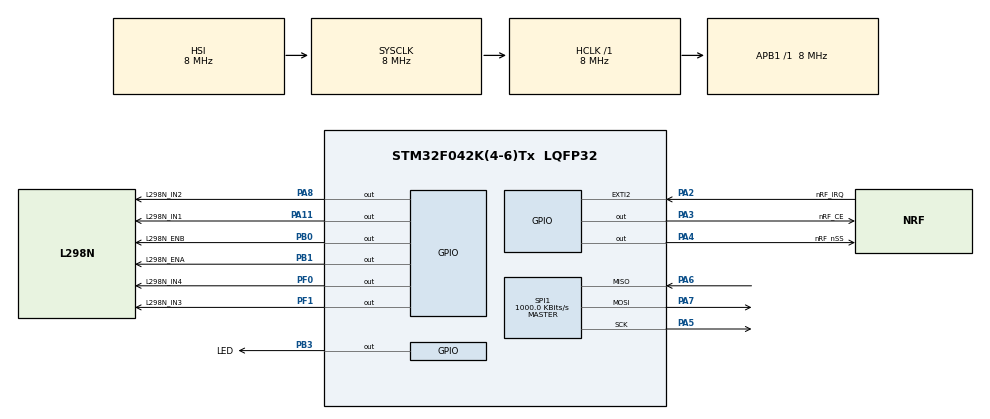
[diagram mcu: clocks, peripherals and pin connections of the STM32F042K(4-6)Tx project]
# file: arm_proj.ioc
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Mcu.Family=STM32F0
Mcu.Name=STM32F042K(4-6)Tx
Mcu.Package=LQFP32
NVIC.EXTI2_3_IRQn=true\:1\:0\:true\:false\:true\:true
PA11.GPIO_Label=L298N_IN1
PA11.Signal=GPIO_Output
PA13.Mode=Serial_Wire
PA13.Signal=SYS_SWDIO
PA14.Mode=Serial_Wire
PA14.Signal=SYS_SWCLK
PA2.GPIO_Label=nRF_IRQ
PA2.GPIO_ModeDefaultEXTI=GPIO_MODE_IT_FALLING
PA2.Signal=GPXTI2
PA3.GPIO_Label=nRF_CE
PA3.GPIO_Speed=GPIO_SPEED_FREQ_HIGH
PA3.PinState=GPIO_PIN_SET
PA3.Signal=GPIO_Output
PA4.GPIO_Label=nRF_nSS
PA4.GPIO_Speed=GPIO_SPEED_FREQ_HIGH
PA4.PinState=GPIO_PIN_SET
PA4.Signal=GPIO_Output
PA5.Mode=Full_Duplex_Master
PA5.Signal=SPI1_SCK
PA6.Mode=Full_Duplex_Master
PA6.Signal=SPI1_MISO
PA7.Mode=Full_Duplex_Master
PA7.Signal=SPI1_MOSI
PA8.GPIO_Label=L298N_IN2
PA8.Signal=GPIO_Output
PB0.GPIO_Label=L298N_ENB
PB0.Signal=GPIO_Output
PB1.GPIO_Label=L298N_ENA
PB1.Signal=GPIO_Output
PB3.GPIO_Label=LED
PB3.Signal=GPIO_Output
PF0-OSC_IN.GPIO_Label=L298N_IN4
PF0-OSC_IN.Signal=GPIO_Output
PF1-OSC_OUT.GPIO_Label=L298N_IN3
PF1-OSC_OUT.Signal=GPIO_Output
ProjectManager.HeapSize=0x200
ProjectManager.StackSize=0x400
ProjectManager.TargetToolchain=EWARM
RCC.AHBFreq_Value=8000000
RCC.APB1Freq_Value=8000000
RCC.APB1TimFreq_Value=8000000
RCC.HCLKFreq_Value=8000000
RCC.SYSCLKFreq_VALUE=8000000
SPI1.BaudRatePrescaler=SPI_BAUDRATEPRESCALER_8
SPI1.CalculateBaudRate=1000.0 KBits/s
SPI1.DataSize=SPI_DATASIZE_8BIT
SPI1.Direction=SPI_DIRECTION_2LINES
SPI1.Mode=SPI_MODE_MASTER
SPI1.VirtualType=VM_MASTER
board=NUCLEO-F042K6

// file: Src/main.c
/**
  ******************************************************************************
  * @file           : main.c
  * @brief          : Main program body
  ******************************************************************************
  ** This notice applies to any and all portions of this file
  * that are not between comment pairs USER CODE BEGIN and
  * USER CODE END. Other portions of this file, whether
  * inserted by the user or by software development tools
  * are owned by their respective copyright owners.
  *
  * COPYRIGHT(c) 2018 STMicroelectronics
  *
  * Redistribution and use in source and binary forms, with or without modification,
  * are permitted provided that the following conditions are met:
  *   1. Redistributions of source code must retain the above copyright notice,
  *      this list of conditions and the following disclaimer.
  *   2. Redistributions in binary form must reproduce the above copyright notice,
  *      this list of conditions and the following disclaimer in the documentation
  *      and/or other materials provided with the distribution.
  *   3. Neither the name of STMicroelectronics nor the names of its contributors
  *      may be used to endorse or promote products derived from this software
  *      without specific prior written permission.
  *
  * THIS SOFTWARE IS PROVIDED BY THE COPYRIGHT HOLDERS AND CONTRIBUTORS "AS IS"
  * AND ANY EXPRESS OR IMPLIED WARRANTIES, INCLUDING, BUT NOT LIMITED TO, THE
  * IMPLIED WARRANTIES OF MERCHANTABILITY AND FITNESS FOR A PARTICULAR PURPOSE ARE
  * DISCLAIMED. IN NO EVENT SHALL THE COPYRIGHT HOLDER OR CONTRIBUTORS BE LIABLE
  * FOR ANY DIRECT, INDIRECT, INCIDENTAL, SPECIAL, EXEMPLARY, OR CONSEQUENTIAL
  * DAMAGES (INCLUDING, BUT NOT LIMITED TO, PROCUREMENT OF SUBSTITUTE GOODS OR
  * SERVICES; LOSS OF USE, DATA, OR PROFITS; OR BUSINESS INTERRUPTION) HOWEVER
  * CAUSED AND ON ANY THEORY OF LIABILITY, WHETHER IN CONTRACT, STRICT LIABILITY,
  * OR TORT (INCLUDING NEGLIGENCE OR OTHERWISE) ARISING IN ANY WAY OUT OF THE USE
  * OF THIS SOFTWARE, EVEN IF ADVISED OF THE POSSIBILITY OF SUCH DAMAGE.
  *
  ******************************************************************************
  */
#include "main.h"
#include "stm32f0xx_hal.h"

/* USER CODE BEGIN Includes */
#include "nrf24l01P.h"
/* USER CODE END Includes */

SPI_HandleTypeDef hspi1;

/* USER CODE BEGIN PV */
/* Private variables ---------------------------------------------------------*/
nRF24L01P myNRF;
const uint8_t RXAddr[5] = {0xE7, 0xE7, 0xE7, 0xE7, 0xE7};
const uint8_t TXAddr[5] = {0xE7, 0xE7, 0xE7, 0xE7, 0xE7};
uint8_t RXData[32];

uint8_t RXBuffer[32], TXBuffer[32], status = 'D';
/* USER CODE END PV */

void SystemClock_Config(void);
static void MX_GPIO_Init(void);
static void MX_SPI1_Init(void);

/* USER CODE BEGIN PFP */
/* Private function prototypes -----------------------------------------------*/

/* USER CODE END PFP */

int main(void)
{

  /* MCU Configuration----------------------------------------------------------*/

  /* Reset of all peripherals, Initializes the Flash interface and the Systick. */
  HAL_Init();

  /* Configure the system clock */
  SystemClock_Config();

  /* Initialize all configured peripherals */
  MX_GPIO_Init();
  MX_SPI1_Init();
  /* USER CODE BEGIN 2 */
  myNRF.hspi = &hspi1;														// You should make this definition at CubeMX
  myNRF.CRC_Width = nRF_CRC_WIDTH_BYTE;
  myNRF.ADDR_Width = nRF_ADDR_WIDTH_5;
  myNRF.Data_Rate = nRF_DATA_RATE_2MBPS;
  myNRF.TX_Power = nRF_TX_PWR_0dBm;
  myNRF.State = nRF_STATE_RX;

  myNRF.RF_Channel = 2;
  myNRF.PayloadWidth = nRF_RXPW_32BYTES;
  myNRF.RetransmitCount = nRF_RETX_DISABLED;
  myNRF.RetransmitDelay = nRF_RETX_DELAY_1000uS;

  myNRF.RX_Address = (uint8_t *)RXAddr;
  myNRF.TX_Address = (uint8_t *)TXAddr;

  myNRF.RX_Buffer = RXBuffer;
  myNRF.TX_Buffer = TXBuffer;

  myNRF.nRF_nSS_GPIO_PORT = nRF_nSS_GPIO_Port;
  myNRF.nRF_nSS_GPIO_PIN = nRF_nSS_Pin;

  myNRF.nRF_CE_GPIO_PORT = nRF_CE_GPIO_Port;
  myNRF.nRF_CE_GPIO_PIN = nRF_CE_Pin;

  if(HAL_nRF24L01P_Init(&myNRF) != HAL_OK)
  {
    puts("ERROR : HAL_nRF24L01P_Init");
    while(1){}
  }
  HAL_GPIO_WritePin(L298N_ENA_GPIO_Port, L298N_ENA_Pin, GPIO_PIN_SET);
  HAL_GPIO_WritePin(L298N_ENB_GPIO_Port, L298N_ENB_Pin, GPIO_PIN_SET);
  /* USER CODE END 2 */

  /* Infinite loop */
  while (1)
  {

  /* USER CODE BEGIN 3 */

    if(HAL_nRF24L01P_ReceivePacket(&myNRF, (uint8_t *)RXData) != HAL_OK)
    {
      puts("ERROR : HAL_nRF24L01P_ReceivePacket");
      while(1){}
    }
    uint8_t c = RXData[0];
    if(status != c && (c == 'D' || c == 'F' || c == 'B' || c == 'L' || c == 'R'))
    {
      if(status == 'D')
      {
        if(c == 'F')
        {
          HAL_GPIO_TogglePin(L298N_IN2_GPIO_Port, L298N_IN2_Pin);
          HAL_GPIO_TogglePin(L298N_IN3_GPIO_Port, L298N_IN3_Pin);
        }else if(c == 'B')
        {
          HAL_GPIO_TogglePin(L298N_IN1_GPIO_Port, L298N_IN1_Pin);
          HAL_GPIO_TogglePin(L298N_IN4_GPIO_Port, L298N_IN4_Pin);
        }else if(c == 'L')
        {
          HAL_GPIO_TogglePin(L298N_IN3_GPIO_Port, L298N_IN3_Pin);
        }else if(c == 'R')
        {
          HAL_GPIO_TogglePin(L298N_IN2_GPIO_Port, L298N_IN2_Pin);
        }
      }else if(status == 'F')
      {
        if(c == 'D')
        {
          HAL_GPIO_TogglePin(L298N_IN2_GPIO_Port, L298N_IN2_Pin);
          HAL_GPIO_TogglePin(L298N_IN3_GPIO_Port, L298N_IN3_Pin);
        }else if(c == 'B')
        {
          HAL_GPIO_TogglePin(L298N_IN1_GPIO_Port, L298N_IN1_Pin);
          HAL_GPIO_TogglePin(L298N_IN2_GPIO_Port, L298N_IN2_Pin);
          HAL_GPIO_TogglePin(L298N_IN3_GPIO_Port, L298N_IN3_Pin);
          HAL_GPIO_TogglePin(L298N_IN4_GPIO_Port, L298N_IN4_Pin);
        }else if(c == 'L')
        {
          HAL_GPIO_TogglePin(L298N_IN2_GPIO_Port, L298N_IN2_Pin);
        }else if(c == 'R')
        {
          HAL_GPIO_TogglePin(L298N_IN3_GPIO_Port, L298N_IN3_Pin);
        }
      }else if(status == 'B')
      {
        if(c == 'D')
        {
          HAL_GPIO_TogglePin(L298N_IN1_GPIO_Port, L298N_IN1_Pin);
          HAL_GPIO_TogglePin(L298N_IN4_GPIO_Port, L298N_IN4_Pin);
        }else if(c == 'F')
        {
          HAL_GPIO_TogglePin(L298N_IN1_GPIO_Port, L298N_IN1_Pin);
          HAL_GPIO_TogglePin(L298N_IN2_GPIO_Port, L298N_IN2_Pin);
          HAL_GPIO_TogglePin(L298N_IN3_GPIO_Port, L298N_IN3_Pin);
          HAL_GPIO_TogglePin(L298N_IN4_GPIO_Port, L298N_IN4_Pin);
        }else if(c == 'L')
        {
          HAL_GPIO_TogglePin(L298N_IN1_GPIO_Port, L298N_IN1_Pin);
          HAL_GPIO_TogglePin(L298N_IN3_GPIO_Port, L298N_IN3_Pin);
          HAL_GPIO_TogglePin(L298N_IN4_GPIO_Port, L298N_IN4_Pin);
        }else if(c == 'R')
        {
          HAL_GPIO_TogglePin(L298N_IN1_GPIO_Port, L298N_IN1_Pin);
          HAL_GPIO_TogglePin(L298N_IN2_GPIO_Port, L298N_IN2_Pin);
          HAL_GPIO_TogglePin(L298N_IN4_GPIO_Port, L298N_IN4_Pin);
        }
      }else if(status == 'L')
      {
        if(c == 'D')
        {
          HAL_GPIO_TogglePin(L298N_IN3_GPIO_Port, L298N_IN3_Pin);
        }else if(c == 'F')
        {
          HAL_GPIO_TogglePin(L298N_IN2_GPIO_Port, L298N_IN2_Pin);
        }else if(c == 'B')
        {
          HAL_GPIO_TogglePin(L298N_IN1_GPIO_Port, L298N_IN1_Pin);
          HAL_GPIO_TogglePin(L298N_IN3_GPIO_Port, L298N_IN3_Pin);
          HAL_GPIO_TogglePin(L298N_IN4_GPIO_Port, L298N_IN4_Pin);
        }else if(c == 'R')
        {
          HAL_GPIO_TogglePin(L298N_IN2_GPIO_Port, L298N_IN2_Pin);
          HAL_GPIO_TogglePin(L298N_IN3_GPIO_Port, L298N_IN3_Pin);
        }
      }else if(status == 'R')
      {
        if(c == 'D')
        {
          HAL_GPIO_TogglePin(L298N_IN2_GPIO_Port, L298N_IN2_Pin);
        }else if(c == 'F')
        {
          HAL_GPIO_TogglePin(L298N_IN3_GPIO_Port, L298N_IN3_Pin);
        }else if(c == 'B')
        {
          HAL_GPIO_TogglePin(L298N_IN1_GPIO_Port, L298N_IN1_Pin);
          HAL_GPIO_TogglePin(L298N_IN2_GPIO_Port, L298N_IN2_Pin);
          HAL_GPIO_TogglePin(L298N_IN4_GPIO_Port, L298N_IN4_Pin);
        }else if(c == 'L')
        {
          HAL_GPIO_TogglePin(L298N_IN2_GPIO_Port, L298N_IN2_Pin);
          HAL_GPIO_TogglePin(L298N_IN3_GPIO_Port, L298N_IN3_Pin);
        }
      }
      status = c;
    }
    HAL_Delay(250);
  }
  /* USER CODE END 3 */

}

void SystemClock_Config(void)
{

  RCC_OscInitTypeDef RCC_OscInitStruct;
  RCC_ClkInitTypeDef RCC_ClkInitStruct;

    /**Initializes the CPU, AHB and APB busses clocks
    */
  RCC_OscInitStruct.OscillatorType = RCC_OSCILLATORTYPE_HSI;
  RCC_OscInitStruct.HSIState = RCC_HSI_ON;
  RCC_OscInitStruct.HSICalibrationValue = 16;
  RCC_OscInitStruct.PLL.PLLState = RCC_PLL_NONE;
  if (HAL_RCC_OscConfig(&RCC_OscInitStruct) != HAL_OK)
  {
    _Error_Handler(__FILE__, __LINE__);
  }

    /**Initializes the CPU, AHB and APB busses clocks
    */
  RCC_ClkInitStruct.ClockType = RCC_CLOCKTYPE_HCLK|RCC_CLOCKTYPE_SYSCLK
                              |RCC_CLOCKTYPE_PCLK1;
  RCC_ClkInitStruct.SYSCLKSource = RCC_SYSCLKSOURCE_HSI;
  RCC_ClkInitStruct.AHBCLKDivider = RCC_SYSCLK_DIV1;
  RCC_ClkInitStruct.APB1CLKDivider = RCC_HCLK_DIV1;

  if (HAL_RCC_ClockConfig(&RCC_ClkInitStruct, FLASH_LATENCY_0) != HAL_OK)
  {
    _Error_Handler(__FILE__, __LINE__);
  }

    /**Configure the Systick interrupt time
    */
  HAL_SYSTICK_Config(HAL_RCC_GetHCLKFreq()/1000);

    /**Configure the Systick
    */
  HAL_SYSTICK_CLKSourceConfig(SYSTICK_CLKSOURCE_HCLK);

  /* SysTick_IRQn interrupt configuration */
  HAL_NVIC_SetPriority(SysTick_IRQn, 0, 0);
}

/* SPI1 init function */
static void MX_SPI1_Init(void)
{

  /* SPI1 parameter configuration*/
  hspi1.Instance = SPI1;
  hspi1.Init.Mode = SPI_MODE_MASTER;
  hspi1.Init.Direction = SPI_DIRECTION_2LINES;
  hspi1.Init.DataSize = SPI_DATASIZE_8BIT;
  hspi1.Init.CLKPolarity = SPI_POLARITY_LOW;
  hspi1.Init.CLKPhase = SPI_PHASE_1EDGE;
  hspi1.Init.NSS = SPI_NSS_SOFT;
  hspi1.Init.BaudRatePrescaler = SPI_BAUDRATEPRESCALER_8;
  hspi1.Init.FirstBit = SPI_FIRSTBIT_MSB;
  hspi1.Init.TIMode = SPI_TIMODE_DISABLE;
  hspi1.Init.CRCCalculation = SPI_CRCCALCULATION_DISABLE;
  hspi1.Init.CRCPolynomial = 7;
  hspi1.Init.CRCLength = SPI_CRC_LENGTH_DATASIZE;
  hspi1.Init.NSSPMode = SPI_NSS_PULSE_ENABLE;
  if (HAL_SPI_Init(&hspi1) != HAL_OK)
  {
    _Error_Handler(__FILE__, __LINE__);
  }

}

/** Configure pins as
        * Analog
        * Input
        * Output
        * EVENT_OUT
        * EXTI
*/
static void MX_GPIO_Init(void)
{

  GPIO_InitTypeDef GPIO_InitStruct;

  /* GPIO Ports Clock Enable */
  __HAL_RCC_GPIOF_CLK_ENABLE();
  __HAL_RCC_GPIOA_CLK_ENABLE();
  __HAL_RCC_GPIOB_CLK_ENABLE();

  /*Configure GPIO pin Output Level */
  HAL_GPIO_WritePin(GPIOF, L298N_IN4_Pin|L298N_IN3_Pin, GPIO_PIN_RESET);

  /*Configure GPIO pin Output Level */
  HAL_GPIO_WritePin(GPIOA, nRF_CE_Pin|nRF_nSS_Pin, GPIO_PIN_SET);

  /*Configure GPIO pin Output Level */
  HAL_GPIO_WritePin(GPIOB, L298N_ENB_Pin|L298N_ENA_Pin|LED_Pin, GPIO_PIN_RESET);

  /*Configure GPIO pin Output Level */
  HAL_GPIO_WritePin(GPIOA, L298N_IN2_Pin|L298N_IN1_Pin, GPIO_PIN_RESET);

  /*Configure GPIO pins : L298N_IN4_Pin L298N_IN3_Pin */
  GPIO_InitStruct.Pin = L298N_IN4_Pin|L298N_IN3_Pin;
  GPIO_InitStruct.Mode = GPIO_MODE_OUTPUT_PP;
  GPIO_InitStruct.Pull = GPIO_NOPULL;
  GPIO_InitStruct.Speed = GPIO_SPEED_FREQ_LOW;
  HAL_GPIO_Init(GPIOF, &GPIO_InitStruct);

  /*Configure GPIO pin : nRF_IRQ_Pin */
  GPIO_InitStruct.Pin = nRF_IRQ_Pin;
  GPIO_InitStruct.Mode = GPIO_MODE_IT_FALLING;
  GPIO_InitStruct.Pull = GPIO_NOPULL;
  HAL_GPIO_Init(nRF_IRQ_GPIO_Port, &GPIO_InitStruct);

  /*Configure GPIO pins : nRF_CE_Pin nRF_nSS_Pin */
  GPIO_InitStruct.Pin = nRF_CE_Pin|nRF_nSS_Pin;
  GPIO_InitStruct.Mode = GPIO_MODE_OUTPUT_PP;
  GPIO_InitStruct.Pull = GPIO_NOPULL;
  GPIO_InitStruct.Speed = GPIO_SPEED_FREQ_HIGH;
  HAL_GPIO_Init(GPIOA, &GPIO_InitStruct);

  /*Configure GPIO pins : L298N_ENB_Pin L298N_ENA_Pin LED_Pin */
  GPIO_InitStruct.Pin = L298N_ENB_Pin|L298N_ENA_Pin|LED_Pin;
  GPIO_InitStruct.Mode = GPIO_MODE_OUTPUT_PP;
  GPIO_InitStruct.Pull = GPIO_NOPULL;
  GPIO_InitStruct.Speed = GPIO_SPEED_FREQ_LOW;
  HAL_GPIO_Init(GPIOB, &GPIO_InitStruct);

  /*Configure GPIO pins : L298N_IN2_Pin L298N_IN1_Pin */
  GPIO_InitStruct.Pin = L298N_IN2_Pin|L298N_IN1_Pin;
  GPIO_InitStruct.Mode = GPIO_MODE_OUTPUT_PP;
  GPIO_InitStruct.Pull = GPIO_NOPULL;
  GPIO_InitStruct.Speed = GPIO_SPEED_FREQ_LOW;
  HAL_GPIO_Init(GPIOA, &GPIO_InitStruct);

  /* EXTI interrupt init*/
  HAL_NVIC_SetPriority(EXTI2_3_IRQn, 1, 0);
  HAL_NVIC_EnableIRQ(EXTI2_3_IRQn);

}

/* USER CODE BEGIN 4 */
void HAL_GPIO_EXTI_Callback(uint16_t GPIO_Pin)
{
  if(GPIO_Pin == GPIO_PIN_2)
  {
    if(HAL_nRF24L01P_IRQ_Handler(&myNRF) != HAL_OK)
    {
      puts("ERROR : HAL_GPIO_EXTI_Callback");
      while(1){}
    }
    HAL_GPIO_TogglePin(LED_GPIO_Port, LED_Pin);
  }
}
/* USER CODE END 4 */

void _Error_Handler(char *file, int line)
{
  while(1)
  {
  }
}

/************************ (C) COPYRIGHT STMicroelectronics *****END OF FILE****/
